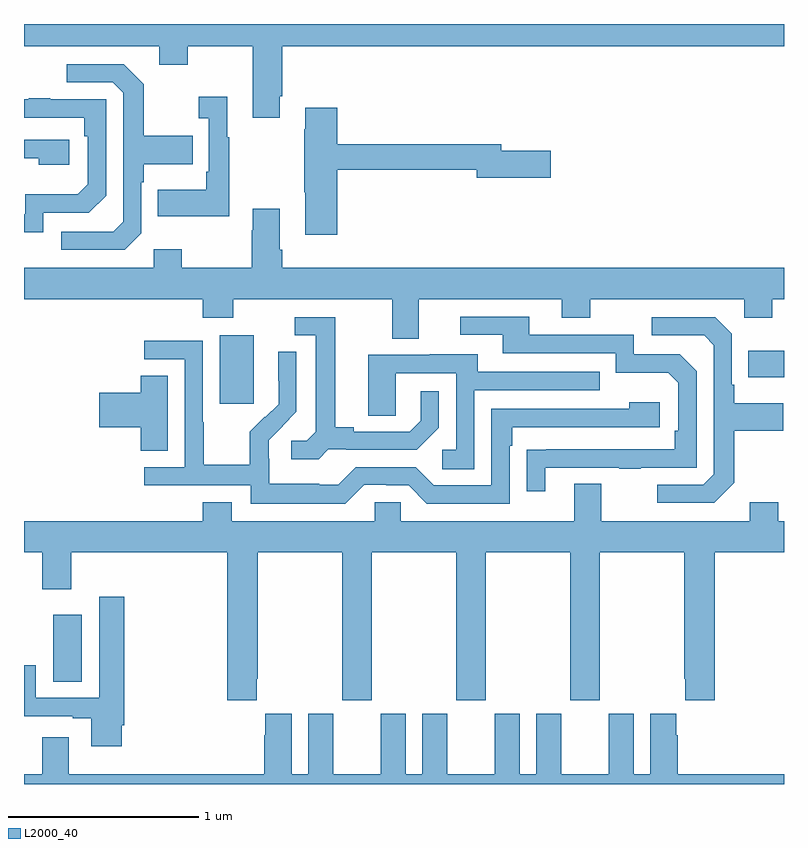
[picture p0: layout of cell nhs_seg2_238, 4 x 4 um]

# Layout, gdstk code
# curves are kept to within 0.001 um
import gdstk
lib = gdstk.Library(unit=1e-6, precision=1e-09)
def R(c, l, rs):  # rectangles x0, y0, x1, y1
    for r in rs: c.add(gdstk.rectangle(r[:2], r[2:], *l))
def P(c, l, *ps):  # polygons
    for p in ps: c.add(gdstk.Polygon(p, *l))
L2000_40 = (2000, 40)

nhs_seg2_238 = lib.new_cell('nhs_seg2_238')
R(nhs_seg2_238, L2000_40, [(123.155,596.338,123.304,596.692), (124.031,597.801,124.21,598.162), (126.811,597.941,127,598.081)])
P(nhs_seg2_238, L2000_40, [(124.345,599.419),(124.358,599.419),(124.358,599.684),(127,599.684),(127,599.8),(123,599.8),(123,599.684),(123.713,599.684),(123.713,599.585),(123.861,599.585),(123.861,599.684),(124.205,599.684),(124.205,599.307),(124.345,599.307)],
  [(123.618,598.698),(123.618,598.967),(123.631,598.967),(123.631,599.063),(123.887,599.063),(123.887,599.211),(123.631,599.211),(123.631,599.483),(123.525,599.589),(123.225,599.589),(123.225,599.493),(123.468,599.493),(123.522,599.439),(123.522,598.758),(123.471,598.707),(123.195,598.707),(123.195,598.611),(123.531,598.611)],
  [(124.081,599.203),(124.069,599.203),(124.069,599.416),(123.921,599.416),(123.921,599.303),(123.972,599.303),(123.972,599.023),(123.96,599.023),(123.96,598.927),(123.703,598.927),(123.703,598.787),(124.081,598.787)],
  [(123.102,598.806),(123.342,598.806),(123.432,598.896),(123.432,599.403),(123.137,599.403),(123.137,599.408),(123.025,599.408),(123.025,599.403),(123,599.403),(123,599.307),(123.316,599.307),(123.316,599.21),(123.336,599.21),(123.336,598.956),(123.283,598.903),(123.006,598.903),(123.006,598.8),(123,598.8),(123,598.704),(123.102,598.704)],
  [(124.649,599.032),(125.384,599.032),(125.384,598.99),(125.773,598.99),(125.773,599.132),(125.512,599.132),(125.512,599.168),(124.649,599.168),(124.649,599.359),(124.481,599.359),(124.481,599.246),(124.474,599.246),(124.474,598.915),(124.481,598.915),(124.481,598.692),(124.649,598.692)],
  [(123.238,599.19),(123,599.19),(123,599.094),(123.077,599.094),(123.077,599.06),(123.238,599.06)],
  [(125.077,598.352),(125.831,598.352),(125.831,598.253),(125.979,598.253),(125.979,598.352),(126.792,598.352),(126.792,598.253),(126.939,598.253),(126.939,598.352),(127,598.352),(127,598.516),(124.358,598.516),(124.358,598.612),(124.345,598.612),(124.345,598.828),(124.205,598.828),(124.205,598.715),(124.198,598.715),(124.198,598.516),(123.831,598.516),(123.831,598.615),(123.684,598.615),(123.684,598.516),(123,598.516),(123,598.352),(123.941,598.352),(123.941,598.253),(124.101,598.253),(124.101,598.352),(124.937,598.352),(124.937,598.144),(125.077,598.144)],
  [(125.743,597.465),(126.133,597.465),(126.133,597.46),(126.245,597.46),(126.245,597.465),(126.54,597.465),(126.54,597.972),(126.45,598.062),(126.21,598.062),(126.21,598.164),(125.659,598.164),(125.659,598.26),(125.295,598.26),(125.295,598.164),(125.519,598.164),(125.519,598.068),(126.114,598.068),(126.114,597.965),(126.391,597.965),(126.444,597.912),(126.444,597.658),(126.424,597.658),(126.424,597.561),(125.647,597.56),(125.647,597.342),(125.743,597.342)],
  [(124.602,597.561),(124.696,597.561),(124.696,597.558),(125.068,597.558),(125.184,597.674),(125.184,597.868),(125.087,597.868),(125.087,597.711),(125.03,597.654),(124.735,597.654),(124.735,597.677),(124.639,597.677),(124.639,598.257),(124.425,598.257),(124.425,598.161),(124.535,598.161),(124.535,597.653),(124.488,597.606),(124.407,597.606),(124.407,597.509),(124.55,597.509)],
  [(126.739,597.385),(126.739,597.658),(126.995,597.658),(126.995,597.805),(126.739,597.805),(126.739,597.901),(126.726,597.901),(126.726,598.17),(126.639,598.257),(126.303,598.257),(126.303,598.161),(126.579,598.161),(126.63,598.11),(126.63,597.429),(126.576,597.375),(126.333,597.375),(126.333,597.279),(126.633,597.279)],
  [(124.791,597.375),(124.907,597.375),(124.907,597.372),(125.025,597.372),(125.121,597.276),(125.556,597.276),(125.556,597.581),(125.569,597.581),(125.569,597.678),(126.346,597.678),(126.346,597.808),(126.185,597.808),(126.185,597.774),(125.46,597.774),(125.46,597.372),(125.157,597.372),(125.061,597.468),(124.746,597.468),(124.653,597.375),(124.553,597.375),(124.553,597.379),(124.29,597.379),(124.29,597.513),(124.288,597.513),(124.288,597.61),(124.434,597.758),(124.434,598.076),(124.338,598.076),(124.338,597.922),(124.34,597.922),(124.34,597.8),(124.269,597.729),(124.266,597.732),(124.189,597.655),(124.189,597.481),(123.945,597.481),(123.945,597.704),(123.942,597.704),(123.942,598.134),(123.633,598.134),(123.633,598.035),(123.846,598.035),(123.846,597.468),(123.633,597.468),(123.633,597.372),(124.194,597.372),(124.194,597.275),(124.691,597.275)],
  [(125.37,597.873),(126.029,597.873),(126.029,597.969),(125.389,597.969),(125.389,598.063),(125.135,598.063),(125.135,598.059),(124.811,598.059),(124.811,597.739),(124.956,597.739),(124.956,597.963),(125.274,597.963),(125.274,597.558),(125.202,597.558),(125.202,597.457),(125.37,597.457)],
  [(123.757,597.95),(123.614,597.95),(123.614,597.86),(123.396,597.86),(123.396,597.677),(123.614,597.677),(123.614,597.553),(123.757,597.553)],
  [(124.225,596.353),(124.23,596.353),(124.23,597.02),(124.675,597.02),(124.675,596.241),(124.83,596.241),(124.83,597.02),(125.275,597.02),(125.275,596.241),(125.43,596.241),(125.43,597.02),(125.875,597.02),(125.875,596.241),(126.03,596.241),(126.03,597.02),(126.475,597.02),(126.475,596.353),(126.479,596.353),(126.479,596.241),(126.635,596.241),(126.635,597.02),(127,597.02),(127,597.184),(126.969,597.184),(126.969,597.283),(126.821,597.283),(126.821,597.184),(126.037,597.184),(126.037,597.379),(125.897,597.379),(125.897,597.184),(124.983,597.184),(124.983,597.282),(124.845,597.282),(124.845,597.184),(124.093,597.184),(124.093,597.283),(123.941,597.283),(123.941,597.184),(123,597.184),(123,597.02),(123.095,597.02),(123.095,596.826),(123.248,596.826),(123.248,597.02),(124.07,597.02),(124.07,596.241),(124.225,596.241)],
  [(123.514,596.11),(123.527,596.11),(123.527,596.785),(123.395,596.785),(123.395,596.253),(123.061,596.253),(123.061,596.425),(123,596.425),(123,596.157),(123.257,596.157),(123.257,596.145),(123.353,596.145),(123.353,595.998),(123.514,595.998)],
  [(127,595.852),(126.44,595.852),(126.44,596.057),(126.433,596.057),(126.433,596.17),(126.296,596.17),(126.296,595.852),(126.208,595.852),(126.208,596.17),(126.077,596.17),(126.077,595.852),(125.827,595.852),(125.827,596.17),(125.696,596.17),(125.696,595.852),(125.608,595.852),(125.608,596.17),(125.477,596.17),(125.477,595.852),(125.227,595.852),(125.227,596.17),(125.096,596.17),(125.096,595.852),(125.008,595.852),(125.008,596.17),(124.877,596.17),(124.877,595.852),(124.627,595.852),(124.627,596.17),(124.496,596.17),(124.496,595.852),(124.408,595.852),(124.408,596.17),(124.271,596.17),(124.271,596.057),(124.265,596.057),(124.265,595.852),(123.235,595.852),(123.235,596.047),(123.095,596.047),(123.095,595.852),(123,595.852),(123,595.8),(127,595.8)])

lib.write_gds('nhs_seg2_238.gds')
